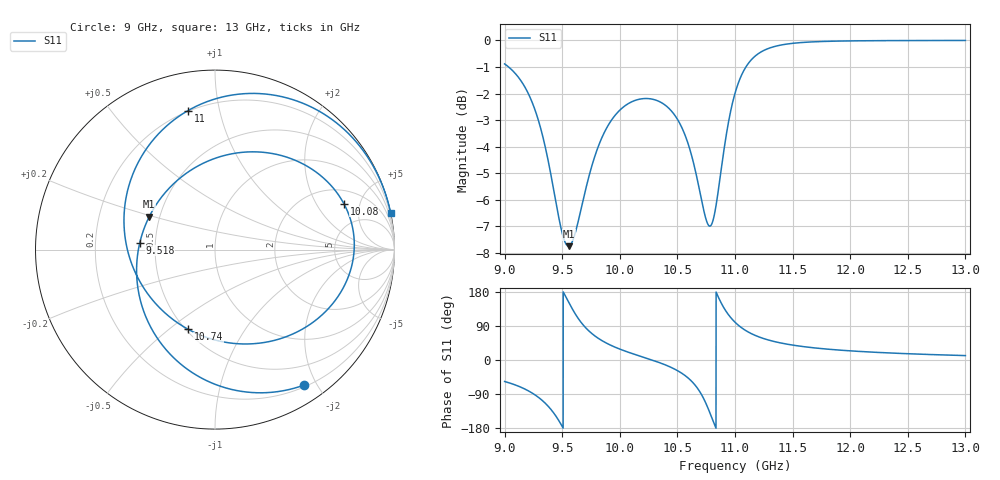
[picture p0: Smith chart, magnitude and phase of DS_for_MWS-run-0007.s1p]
! TOUCHSTONE file generated by CST DESIGN STUDIO
! Date and time: Tue Feb  4 14:40:43 2025
! Project name: C:\Work\MatlabApps\UnitCellOptimizationMatlab\CST\unitcell.cst
! Tree item: Tasks\Sweep1\SPara1\S-Parameters
! Header version: 2024
! Port assignment regex: !\s*Touchstone port\s*([0-9]+)\s*=\s*(CST MWS port|CST DES external port|CST DES block port)\s*(.+)\s* \(\"(.*)\"\)(\s*mode\s*([0-9]+))?.*
! Touchstone port assignment:
! Touchstone port 1 = CST DES external port 1 ("")
# GHz S MA R 50
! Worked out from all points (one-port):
!   4001 points, 9 GHz to 13 GHz, reference 50 ohm
!   lowest |S11| = -7.7 dB at 9.555 GHz (marker M1), VSWR 2.39, Z = 21.9 + j9.7 ohm
!   |S11| at or under -10 dB: nowhere
!   S11 on the Smith chart (normalised r, x): 9 GHz: 0.22, -1.83; 9.518 GHz: 0.41, +0.04; 10.08 GHz: 2.88, +3.53; 10.74 GHz: 0.51, -0.58; 11 GHz: 0.20, +0.81; 13 GHz: 0.01, +9.83
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9  0.9032 -56.7
9.169  0.8218 -75.6
9.284  0.7179 -96.4
9.41  0.5466 -133.4
9.5  0.4335 -175.3
9.518  0.4206 174.6
9.555  0.4098 153.3
9.642  0.4592 108.3
9.732  0.5545 76.6
9.862  0.6685 48.2
10  0.739 28.8
10.082  0.7622 19.7
10.312  0.772 -3.4
10.5  0.7105 -28.0
10.648  0.5782 -64.3
10.739  0.4684 -108.7
10.807  0.4565 -158.8
10.861  0.5328 162.2
10.932  0.6794 124.2
10.996  0.7893 100.9
11  0.7949 99.7
11.085  0.8842 79.3
11.21  0.9466 60.7
11.338  0.9733 48.9
11.5  0.9874 39.3
12  0.9979 24.1
12.5  0.9995 16.6
13  0.9998 11.6
